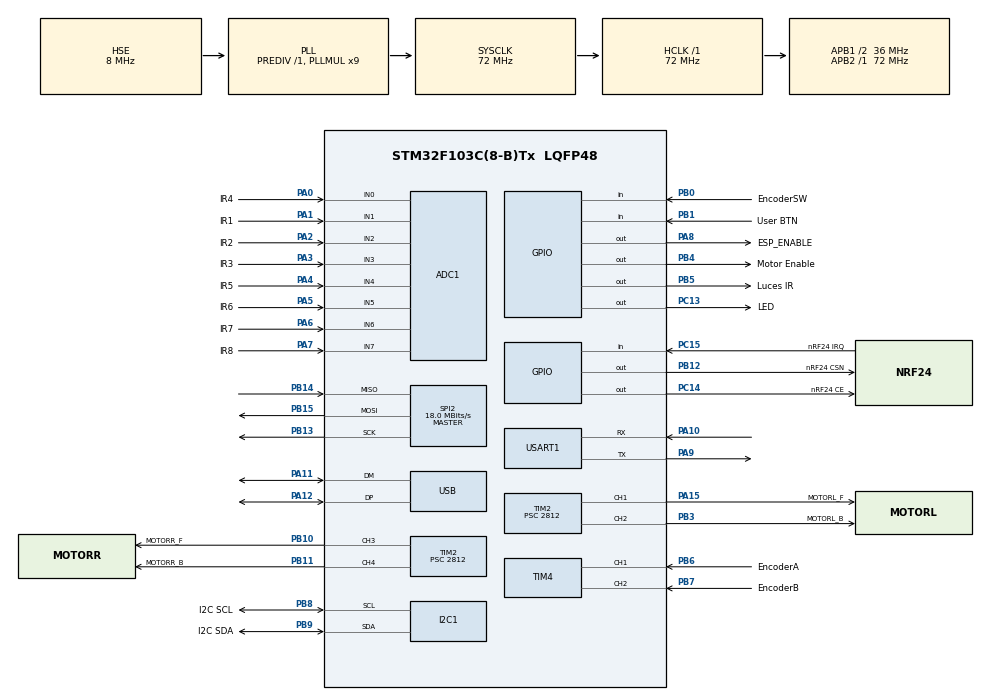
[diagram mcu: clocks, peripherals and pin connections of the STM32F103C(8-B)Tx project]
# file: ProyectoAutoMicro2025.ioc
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ADC1.Channel-0\#ChannelRegularConversion=ADC_CHANNEL_1
ADC1.Channel-1\#ChannelRegularConversion=ADC_CHANNEL_2
ADC1.Channel-2\#ChannelRegularConversion=ADC_CHANNEL_3
ADC1.Channel-3\#ChannelRegularConversion=ADC_CHANNEL_0
ADC1.Channel-4\#ChannelRegularConversion=ADC_CHANNEL_4
ADC1.Channel-5\#ChannelRegularConversion=ADC_CHANNEL_5
ADC1.Channel-6\#ChannelRegularConversion=ADC_CHANNEL_6
ADC1.Channel-7\#ChannelRegularConversion=ADC_CHANNEL_7
ADC1.ExternalTrigConv=ADC_EXTERNALTRIGCONV_T3_TRGO
ADC1.NbrOfConversion=8
ADC1.NbrOfConversionFlag=1
ADC1.Rank-0\#ChannelRegularConversion=1
ADC1.Rank-1\#ChannelRegularConversion=2
ADC1.Rank-2\#ChannelRegularConversion=3
ADC1.Rank-3\#ChannelRegularConversion=4
ADC1.Rank-4\#ChannelRegularConversion=5
ADC1.Rank-5\#ChannelRegularConversion=6
ADC1.Rank-6\#ChannelRegularConversion=7
ADC1.Rank-7\#ChannelRegularConversion=8
ADC1.SamplingTime-0\#ChannelRegularConversion=ADC_SAMPLETIME_28CYCLES_5
ADC1.SamplingTime-1\#ChannelRegularConversion=ADC_SAMPLETIME_28CYCLES_5
ADC1.SamplingTime-2\#ChannelRegularConversion=ADC_SAMPLETIME_28CYCLES_5
ADC1.SamplingTime-3\#ChannelRegularConversion=ADC_SAMPLETIME_28CYCLES_5
ADC1.SamplingTime-4\#ChannelRegularConversion=ADC_SAMPLETIME_28CYCLES_5
ADC1.SamplingTime-5\#ChannelRegularConversion=ADC_SAMPLETIME_28CYCLES_5
ADC1.SamplingTime-6\#ChannelRegularConversion=ADC_SAMPLETIME_28CYCLES_5
ADC1.SamplingTime-7\#ChannelRegularConversion=ADC_SAMPLETIME_28CYCLES_5
ADC1.master=1
Dma.ADC1.0.Direction=DMA_PERIPH_TO_MEMORY
Dma.ADC1.0.Instance=DMA1_Channel1
Dma.ADC1.0.MemDataAlignment=DMA_MDATAALIGN_HALFWORD
Dma.ADC1.0.MemInc=DMA_MINC_ENABLE
Dma.ADC1.0.Mode=DMA_CIRCULAR
Dma.ADC1.0.PeriphDataAlignment=DMA_PDATAALIGN_HALFWORD
Dma.ADC1.0.PeriphInc=DMA_PINC_DISABLE
Dma.ADC1.0.Priority=DMA_PRIORITY_HIGH
Dma.I2C1_RX.3.Direction=DMA_PERIPH_TO_MEMORY
Dma.I2C1_RX.3.Instance=DMA1_Channel7
Dma.I2C1_RX.3.MemDataAlignment=DMA_MDATAALIGN_BYTE
Dma.I2C1_RX.3.MemInc=DMA_MINC_ENABLE
Dma.I2C1_RX.3.Mode=DMA_NORMAL
Dma.I2C1_RX.3.PeriphDataAlignment=DMA_PDATAALIGN_BYTE
Dma.I2C1_RX.3.PeriphInc=DMA_PINC_DISABLE
Dma.I2C1_RX.3.Priority=DMA_PRIORITY_LOW
Dma.I2C1_TX.4.Direction=DMA_MEMORY_TO_PERIPH
Dma.I2C1_TX.4.Instance=DMA1_Channel6
Dma.I2C1_TX.4.MemDataAlignment=DMA_MDATAALIGN_BYTE
Dma.I2C1_TX.4.MemInc=DMA_MINC_ENABLE
Dma.I2C1_TX.4.Mode=DMA_NORMAL
Dma.I2C1_TX.4.PeriphDataAlignment=DMA_PDATAALIGN_BYTE
Dma.I2C1_TX.4.PeriphInc=DMA_PINC_DISABLE
Dma.I2C1_TX.4.Priority=DMA_PRIORITY_LOW
Dma.Request0=ADC1
Dma.Request1=USART1_TX
Dma.Request2=USART1_RX
Dma.Request3=I2C1_RX
Dma.Request4=I2C1_TX
Dma.USART1_RX.2.Direction=DMA_PERIPH_TO_MEMORY
Dma.USART1_RX.2.Instance=DMA1_Channel5
Dma.USART1_RX.2.MemDataAlignment=DMA_MDATAALIGN_BYTE
Dma.USART1_RX.2.MemInc=DMA_MINC_ENABLE
Dma.USART1_RX.2.Mode=DMA_CIRCULAR
Dma.USART1_RX.2.PeriphDataAlignment=DMA_PDATAALIGN_BYTE
Dma.USART1_RX.2.PeriphInc=DMA_PINC_DISABLE
Dma.USART1_RX.2.Priority=DMA_PRIORITY_LOW
Dma.USART1_TX.1.Direction=DMA_MEMORY_TO_PERIPH
Dma.USART1_TX.1.Instance=DMA1_Channel4
Dma.USART1_TX.1.MemDataAlignment=DMA_MDATAALIGN_BYTE
Dma.USART1_TX.1.MemInc=DMA_MINC_ENABLE
Dma.USART1_TX.1.Mode=DMA_NORMAL
Dma.USART1_TX.1.PeriphDataAlignment=DMA_PDATAALIGN_BYTE
Dma.USART1_TX.1.PeriphInc=DMA_PINC_DISABLE
Dma.USART1_TX.1.Priority=DMA_PRIORITY_LOW
I2C1.I2C_Mode=I2C_Fast
Mcu.Family=STM32F1
Mcu.Name=STM32F103C(8-B)Tx
Mcu.Package=LQFP48
NVIC.ADC1_2_IRQn=true\:0\:0\:false\:false\:true\:true\:true\:true
NVIC.DMA1_Channel1_IRQn=true\:0\:0\:false\:false\:true\:false\:true\:true
NVIC.DMA1_Channel4_IRQn=true\:0\:0\:false\:false\:true\:false\:true\:true
NVIC.DMA1_Channel5_IRQn=true\:0\:0\:false\:false\:true\:false\:true\:true
NVIC.DMA1_Channel6_IRQn=true\:0\:0\:false\:false\:true\:false\:true\:true
NVIC.DMA1_Channel7_IRQn=true\:0\:0\:false\:false\:true\:false\:true\:true
NVIC.I2C1_ER_IRQn=true\:0\:0\:false\:false\:true\:true\:true\:true
NVIC.I2C1_EV_IRQn=true\:0\:0\:false\:false\:true\:true\:true\:true
NVIC.PriorityGroup=NVIC_PRIORITYGROUP_4
NVIC.TIM3_IRQn=true\:0\:0\:true\:false\:true\:true\:true\:true
NVIC.USART1_IRQn=true\:0\:0\:false\:false\:true\:true\:true\:true
PA0-WKUP.GPIO_Label=IR4
PA0-WKUP.Signal=ADCx_IN0
PA1.GPIO_Label=IR1
PA1.Signal=ADCx_IN1
PA10.Mode=Asynchronous
PA10.Signal=USART1_RX
PA11.Mode=Device
PA11.Signal=USB_DM
PA12.Mode=Device
PA12.Signal=USB_DP
PA13.Mode=Serial_Wire
PA13.Signal=SYS_JTMS-SWDIO
PA14.Mode=Serial_Wire
PA14.Signal=SYS_JTCK-SWCLK
PA15.GPIO_Label=MOTORL_F
PA15.Signal=S_TIM2_CH1_ETR
PA2.GPIO_Label=IR2
PA2.Signal=ADCx_IN2
PA3.GPIO_Label=IR3
PA3.Signal=ADCx_IN3
PA4.GPIO_Label=IR5
PA4.Signal=ADCx_IN4
PA5.GPIO_Label=IR6
PA5.Signal=ADCx_IN5
PA6.GPIO_Label=IR7
PA6.Signal=ADCx_IN6
PA7.GPIO_Label=IR8
PA7.Signal=ADCx_IN7
PA8.GPIO_Label=ESP_ENABLE
PA8.Signal=GPIO_Output
PA9.Mode=Asynchronous
PA9.Signal=USART1_TX
PB0.GPIO_Label=EncoderSW
PB0.GPIO_PuPd=GPIO_PULLUP
PB0.Signal=GPIO_Input
PB1.GPIO_Label=User BTN
PB1.Signal=GPIO_Input
PB10.GPIO_Label=MOTORR_F
PB10.Signal=S_TIM2_CH3
PB11.GPIO_Label=MOTORR_B
PB11.Signal=S_TIM2_CH4
PB12.GPIO_Label=nRF24 CSN
PB12.Signal=GPIO_Output
PB13.Mode=Full_Duplex_Master
PB13.Signal=SPI2_SCK
PB14.Mode=Full_Duplex_Master
PB14.Signal=SPI2_MISO
PB15.Mode=Full_Duplex_Master
PB15.Signal=SPI2_MOSI
PB3.GPIO_Label=MOTORL_B
PB3.Signal=S_TIM2_CH2
PB4.GPIO_Label=Motor Enable
PB4.Signal=GPIO_Output
PB5.GPIO_Label=Luces IR
PB5.Signal=GPIO_Output
PB6.GPIO_Label=EncoderA
PB6.Signal=S_TIM4_CH1
PB7.GPIO_Label=EncoderB
PB7.Signal=S_TIM4_CH2
PB8.GPIO_Label=I2C SCL
PB8.Mode=I2C
PB8.Signal=I2C1_SCL
PB9.GPIO_Label=I2C SDA
PB9.Mode=I2C
PB9.Signal=I2C1_SDA
PC13-TAMPER-RTC.GPIO_Label=LED
PC13-TAMPER-RTC.Signal=GPIO_Output
PC14-OSC32_IN.GPIO_Label=nRF24 CE
PC14-OSC32_IN.Signal=GPIO_Output
PC15-OSC32_OUT.GPIO_Label=nRF24 IRQ
PC15-OSC32_OUT.Signal=GPIO_Input
PD0-OSC_IN.Mode=HSE-External-Oscillator
PD0-OSC_IN.Signal=RCC_OSC_IN
PD1-OSC_OUT.Mode=HSE-External-Oscillator
PD1-OSC_OUT.Signal=RCC_OSC_OUT
ProjectManager.HeapSize=0x200
ProjectManager.StackSize=0x400
ProjectManager.TargetToolchain=STM32CubeIDE
RCC.ADCPresc=RCC_ADCPCLK2_DIV6
RCC.AHBFreq_Value=72000000
RCC.APB1CLKDivider=RCC_HCLK_DIV2
RCC.APB1Freq_Value=36000000
RCC.APB1TimFreq_Value=72000000
RCC.APB2Freq_Value=72000000
RCC.APB2TimFreq_Value=72000000
RCC.HCLKFreq_Value=72000000
RCC.PLLMUL=RCC_PLL_MUL9
RCC.PLLSourceVirtual=RCC_PLLSOURCE_HSE
RCC.SYSCLKFreq_VALUE=72000000
RCC.SYSCLKSource=RCC_SYSCLKSOURCE_PLLCLK
RCC.USBFreq_Value=48000000
RCC.USBPrescaler=RCC_USBCLKSOURCE_PLL_DIV1_5
SH.ADCx_IN0.0=ADC1_IN0,IN0
SH.ADCx_IN1.0=ADC1_IN1,IN1
SH.ADCx_IN2.0=ADC1_IN2,IN2
SH.ADCx_IN3.0=ADC1_IN3,IN3
SH.ADCx_IN4.0=ADC1_IN4,IN4
SH.ADCx_IN5.0=ADC1_IN5,IN5
SH.ADCx_IN6.0=ADC1_IN6,IN6
SH.ADCx_IN7.0=ADC1_IN7,IN7
SH.S_TIM2_CH1_ETR.0=TIM2_CH1,PWM Generation1 CH1
SH.S_TIM2_CH2.0=TIM2_CH2,PWM Generation2 CH2
SH.S_TIM2_CH3.0=TIM2_CH3,PWM Generation3 CH3
SH.S_TIM2_CH4.0=TIM2_CH4,PWM Generation4 CH4
SH.S_TIM4_CH1.0=TIM4_CH1,Encoder_Interface
SH.S_TIM4_CH2.0=TIM4_CH2,Encoder_Interface
SPI2.CalculateBaudRate=18.0 MBits/s
SPI2.Direction=SPI_DIRECTION_2LINES
SPI2.Mode=SPI_MODE_MASTER
SPI2.VirtualType=VM_MASTER
TIM2.Channel-PWM\ Generation1\ CH1=TIM_CHANNEL_1
TIM2.Channel-PWM\ Generation2\ CH2=TIM_CHANNEL_2
TIM2.Channel-PWM\ Generation3\ CH3=TIM_CHANNEL_3
TIM2.Channel-PWM\ Generation4\ CH4=TIM_CHANNEL_4
TIM2.Period=255
TIM2.Prescaler=2812
TIM3.Period=249
TIM3.Prescaler=71
TIM3.TIM_MasterOutputTrigger=TIM_TRGO_UPDATE
TIM4.EncoderMode=TIM_ENCODERMODE_TI12
TIM4.IC1Filter=0
TIM4.IC2Filter=9
USART1.VirtualMode=VM_ASYNC
VP_TIM2_VS_ClockSourceINT.Mode=Internal
VP_TIM3_VS_ClockSourceINT.Mode=Internal
board=custom

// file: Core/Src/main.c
/* USER CODE BEGIN Header */
/**
 ******************************************************************************
 * @file           : main.c
 * @brief          : Main program body
 ******************************************************************************
 * @attention
 *
 * Copyright (c) 2025 STMicroelectronics.
 * All rights reserved.
 *
 * This software is licensed under terms that can be found in the LICENSE file
 * in the root directory of this software component.
 * If no LICENSE file comes with this software, it is provided AS-IS.
 *
 ******************************************************************************
 */
/* USER CODE END Header */
#include "main.h"
#include "adc.h"
#include "dma.h"
#include "i2c.h"
#include "spi.h"
#include "tim.h"
#include "usart.h"
#include "usb.h"
#include "gpio.h"

/* USER CODE BEGIN Includes */
#include "globals.h"
#include "utils.h"
#include "utils/macros_utils.h"
#include "types/bitmap_type.h"
#include "motor_control.h"
#include "i2c_manager.h"
#include "fonts.h"
#include "menusystem.h"
#include "oled_utils.h"
#include "encoder.h"             // donde se define ENC_Handle_t
#include "user_button.h"
#include "ui_event_router.h"
#include "ssd1306.h"
#include "mpu6050.h"             // donde se define MPU6050_Handle_t
#include "screenWrappers.h"
#include "notificationWrappers.h"
#include "eventManagers.h"
#include "menu_definitions.h"
#include "wifi_bridge.h"
#include "wifi_bridge_ui_adapter.h"
#include "permissions.h"
//#include "oled_screens.h"

/* USER CODE END Includes */

/* USER CODE BEGIN PV */

typedef struct {
    GPIO_TypeDef *port;
    uint16_t pin;
} TCRT_MainLightHalCtx_t;

#define TCRT_MAIN_PULL_DOWN_MASK ((1U << 3) | (1U << 4) | (1U << 5) | (1U << 6) | (1U << 7))

static TCRT_MainLightHalCtx_t tcrtLightHal = {0};

static void TCRT_MainLightWrite(void *ctx, bool state)
{
    TCRT_MainLightHalCtx_t *hal_ctx = (TCRT_MainLightHalCtx_t *)ctx;

    if ((hal_ctx == NULL) || (hal_ctx->port == NULL)) {
        return;
    }

    HAL_GPIO_WritePin(
        hal_ctx->port,
        hal_ctx->pin,
        state ? GPIO_PIN_SET : GPIO_PIN_RESET
    );
}

static bool Oled_WaitReady(I2C_ManagerHandle *manager, uint16_t addr_7bit, uint32_t retries, uint32_t delay_ms)
{
    if (!manager) {
        return false;
    }

    for (uint32_t attempt = 0; attempt < retries; attempt++) {
        if (I2C_Manager_IsAddressReady(manager, addr_7bit) == HAL_OK) {
            __NOP(); // BREAKPOINT: OLED respondiÃƒÂ³ en I2C
            return true;
        }
        HAL_Delay(delay_ms);
    }

    return false;
}

void OledUtils_Clear_Wrapper(){
	OledUtils_Clear();
}

void OLED_Is_Ready(void) {
    if (!IS_FLAG_SET(systemFlags, OLED_READY)) {
        menuSystem.renderFn = OledUtils_RenderStartupNotification_Wrapper;
        menuSystem.renderFlag = true;
        oled_first_draw = true;
        SET_FLAG(systemFlags, OLED_READY);
        __NOP();
    }
}

/* --- Variables globales --- */

/* USER CODE END PV */

void SystemClock_Config(void);
/* USER CODE BEGIN PFP */
void initCarMode();
void UserBtn_MainTask(UserButton_Handle_t *h);
void initTCRTLib();
void TCRT_MainTask();
void InitMotorTask(void);
void My_TimerCalcFunc(uint32_t target_freq_hz,
                      uint32_t timer_clk_hz,
                      uint16_t *prescaler_out,
                      uint16_t *period_out);
void Motor_MainTask(void);
void i2cManager_MainTask(void);
void MPU_MainTask(void);
void OLED_MainTask(void);
/**
 * @brief Tarea principal del encoder (main loop)
 *        Maneja eventos de botÃƒÂ³n corto/largo
 */
void Encoder_MainTask(ENC_Handle_t *h);
void initMenuSystemTask(void);
void clearScreenWrapper(void);
void renderFnWrapper(void);
void drawItemWrapper(const char *name, int y, bool selected);

/* USER CODE END PFP */

/* USER CODE BEGIN 0 */
void MPU_Data_Ready(void) {
    SET_FLAG(systemFlags, MPU_GET_DATA); //Setea bandera de data para volver a pedir
}

/* USER CODE END 0 */

int main(void)
{

  /* MCU Configuration--------------------------------------------------------*/

  /* Reset of all peripherals, Initializes the Flash interface and the Systick. */
  HAL_Init();

  /* Configure the system clock */
  SystemClock_Config();

  /* Initialize all configured peripherals */
  MX_GPIO_Init();
  MX_DMA_Init();
  MX_TIM3_Init();
  MX_ADC1_Init();
  MX_USART1_UART_Init();
  MX_I2C1_Init();
  MX_TIM2_Init();
  MX_SPI2_Init();
  MX_TIM4_Init();
  MX_USB_PCD_Init();
  /* USER CODE BEGIN 2 */
	 HAL_StatusTypeDef result;
	 WifiBridge_Init(&wifiBridge, &huart1);
	 WifiBridge_SetEventCallback(&wifiBridge, WifiBridge_UI_OnEvent);
	 WifiBridge_Start(&wifiBridge);
	 Permission_Init();
	 initTCRTLib();
	 InitMotorTask();
	 I2C_Manager_Init(&i2cManager, &hi2c1, I2C_MANAGER_DEFAULT_LEASE_TIMEOUT_MS);
	 __NOP(); // BREAKPOINT: I2C Manager inicializado
	 /*I2C_Manager_ScanBus();*/
	 if (I2C_Manager_IsAddressReady(&i2cManager, I2C_ADDR_MPU) == HAL_OK) {
	     if (MPU6050_Init(
	             &mpuTask,
	             I2C_ADDR_MPU,
	             &hi2c1,
	             MPU_Data_Ready,                  // callback usuario
	             &mpu_trigger
	         ) == HAL_OK) {
	         HAL_StatusTypeDef res = MPU6050_BindI2CManager(
	             &mpuTask,
	             &i2cManager,
	             DEVICE_ID_MPU,
	             1
	         );
	         if (res == HAL_OK) {
	             MPU6050_Configure(&mpuTask);
	             MPU6050_StartCalibration(&mpuTask, 400u, 1600u);
	             SET_FLAG(systemFlags, MPU_GET_DATA);
	         } else {
	             // FallÃƒÂ³ al registrar (posiblemente sin espacio en la tabla)
	         }
	     }
	 } else {
	     // El MPU no respondiÃƒÂ³ en el bus
	 }
	 if (I2C_Manager_IsAddressReady(&i2cManager, I2C_ADDR_OLED) == HAL_OK) {
	     __NOP(); // BREAKPOINT: I2C detectÃƒÂ³ el OLED
	     result = ssd1306_BindI2CManager(&i2cManager, DEVICE_ID_OLED);

	     if (result == HAL_OK) {
	         __NOP(); // BREAKPOINT: OLED registrado en I2C Manager
	         if (ssd1306_Init()) {
	        	 SET_FLAG(systemFlags2, OLED_ACTIVE);
	         }
	     } else {
	         // FallÃƒÂ³ al registrar
	     }
	 } else {
	     // El OLED no respondiÃƒÂ³
	 }
	 HAL_ADC_Start_DMA(&hadc1, (uint32_t*)sensor_raw_data, TCRT5000_NUM_SENSORS);
	 HAL_TIM_Base_Start_IT(&htim3);
	 initCarMode();
	 initMenuSystemTask();
	 //Aca debemos poner la inicializacion de la ESP
	 //SET_FLAG(systemFlags2, ESP_PRESENT);
	 espBootRebootPending = 1;
		if (espBootRebootPending && !usart1_tx_busy) {
			if (WifiBridge_SendEspReboot(&wifiBridge, WIFI_BRIDGE_ESP_REBOOT_BOOT_MODE_NORMAL) == WIFI_BRIDGE_OK) {
				espBootRebootPending = 0u;
				espBootRebootPendingResponse = 1;
			}
		}
		if(IS_FLAG_SET(systemFlags2, OLED_ACTIVE)){
			CLEAR_FLAG(systemFlags2, OLED_ACTIVE);
			OLED_Is_Ready();
		}

  //Solo llamo initCarMode() una vez, antes del while
  /* USER CODE END 2 */

  /* Infinite loop */
  /* USER CODE BEGIN WHILE */
	while (1) {
		USART1_DMA_CheckHealth();
		WifiBridge_Process(&wifiBridge);
		Permission_Task(HAL_GetTick());
		TCRT_MainTask();
		i2cManager_MainTask();
		UserBtn_MainTask(&btnUser);
		Encoder_MainTask(&encoder);
		OLED_MainTask();
		MPU_MainTask();
		Motor_MainTask();
		// Si quieres saber cuÃƒÂ¡ntos sobrepasos de 1 s hubo (0..9):
		//uint8_t num_overflows = NIBBLEH_GET_STATE(btnUser.state.flags);

    /* USER CODE END WHILE */

	}
}

void SystemClock_Config(void)
{
  RCC_OscInitTypeDef RCC_OscInitStruct = {0};
  RCC_ClkInitTypeDef RCC_ClkInitStruct = {0};
  RCC_PeriphCLKInitTypeDef PeriphClkInit = {0};

  /** Initializes the RCC Oscillators according to the specified parameters
  * in the RCC_OscInitTypeDef structure.
  */
  RCC_OscInitStruct.OscillatorType = RCC_OSCILLATORTYPE_HSE;
  RCC_OscInitStruct.HSEState = RCC_HSE_ON;
  RCC_OscInitStruct.HSEPredivValue = RCC_HSE_PREDIV_DIV1;
  RCC_OscInitStruct.HSIState = RCC_HSI_ON;
  RCC_OscInitStruct.PLL.PLLState = RCC_PLL_ON;
  RCC_OscInitStruct.PLL.PLLSource = RCC_PLLSOURCE_HSE;
  RCC_OscInitStruct.PLL.PLLMUL = RCC_PLL_MUL9;
  if (HAL_RCC_OscConfig(&RCC_OscInitStruct) != HAL_OK)
  {
    Error_Handler();
  }

  /** Initializes the CPU, AHB and APB buses clocks
  */
  RCC_ClkInitStruct.ClockType = RCC_CLOCKTYPE_HCLK|RCC_CLOCKTYPE_SYSCLK
                              |RCC_CLOCKTYPE_PCLK1|RCC_CLOCKTYPE_PCLK2;
  RCC_ClkInitStruct.SYSCLKSource = RCC_SYSCLKSOURCE_PLLCLK;
  RCC_ClkInitStruct.AHBCLKDivider = RCC_SYSCLK_DIV1;
  RCC_ClkInitStruct.APB1CLKDivider = RCC_HCLK_DIV2;
  RCC_ClkInitStruct.APB2CLKDivider = RCC_HCLK_DIV1;

  if (HAL_RCC_ClockConfig(&RCC_ClkInitStruct, FLASH_LATENCY_2) != HAL_OK)
  {
    Error_Handler();
  }
  PeriphClkInit.PeriphClockSelection = RCC_PERIPHCLK_ADC|RCC_PERIPHCLK_USB;
  PeriphClkInit.AdcClockSelection = RCC_ADCPCLK2_DIV6;
  PeriphClkInit.UsbClockSelection = RCC_USBCLKSOURCE_PLL_DIV1_5;
  if (HAL_RCCEx_PeriphCLKConfig(&PeriphClkInit) != HAL_OK)
  {
    Error_Handler();
  }
}

/* USER CODE BEGIN 4 */

HAL_StatusTypeDef uart1_send_bytes(const uint8_t *data, uint16_t len) {
    if (!data || len == 0) {
        return HAL_ERROR;
    }

    if (usart1_tx_busy) {
        return HAL_BUSY;
    }

    usart1_tx_busy = 1;
    if (HAL_UART_Transmit_DMA(&huart1, (uint8_t *)data, len) != HAL_OK) {
        usart1_tx_busy = 0;
        return HAL_ERROR;
    }

    return HAL_OK;
}

void initCarMode(){
	SET_CAR_MODE(IDLE_MODE);
	ledStatus.gpio_port = LED_GPIO_Port;
	ledStatus.gpio_pin = LED_Pin;
	ledStatus.flags.byte = 0;
	ledStatus.counter = 0;
	ledStatus.onTime = LED_IDLE_ONTIME;
	ledStatus.offTime = LED_IDLE_OFFTIME;
	SET_FLAG(ledStatus.flags, LED_FLAG_ACTIVE_LOW);  // Si el LED es activo en bajo
	SET_FLAG(systemFlags, INIT_CAR);
	UserButton_Init(&btnUser, User_BTN_GPIO_Port, User_BTN_Pin, USER_BUTTON_ACTIVE_HIGH);
	ENC_Init(&encoder, &htim4, 1, 4, EncoderSW_GPIO_Port, EncoderSW_Pin);
	ENC_Start(&encoder);
	// SET_FLAG(systemFlags2, AP_ACTIVE);
	// SET_FLAG(systemFlags2, USB_ACTIVE);
	// SET_FLAG(systemFlags2, RF_ACTIVE);
}

void UserBtn_MainTask(UserButton_Handle_t *btnUser) {
    UserEvent_t local_ev = UE_NONE;

    if (IS_FLAG_SET(btnUser->state.flags, BTN_USER_SHORT_PRESS)) {
        CLEAR_FLAG(btnUser->state.flags, BTN_USER_SHORT_PRESS);
        local_ev = UE_SHORT_PRESS;
    }
    else if (IS_FLAG_SET(btnUser->state.flags, BTN_USER_LONG_PRESS)) {
        CLEAR_FLAG(btnUser->state.flags, BTN_USER_LONG_PRESS);
        local_ev = UE_LONG_PRESS;
    }

    UiEventRouter_HandleEvent(local_ev);
}

void Encoder_MainTask(ENC_Handle_t *encoder) {
    UserEvent_t local_ev = UE_NONE;
    int16_t scaled_steps = 0;

    // rotaciÃƒÂ³n
    if (IS_FLAG_SET(encoder->flags, ENC_FLAG_UPDATED)) {
        CLEAR_FLAG(encoder->flags, ENC_FLAG_UPDATED);
        local_ev = (encoder->dir == ENC_DIR_CW ? UE_ROTATE_CW : UE_ROTATE_CCW);
        scaled_steps = ENC_GetScaledSteps(encoder);
    }
    // click encoder
    else if (IS_FLAG_SET(encoder->btnState.flags, ENC_BTN_SHORT_PRESS)) {
        CLEAR_FLAG(encoder->btnState.flags, ENC_BTN_SHORT_PRESS);
        local_ev = UE_ENC_SHORT_PRESS;
    }
    else if (IS_FLAG_SET(encoder->btnState.flags, ENC_BTN_LONG_PRESS)) {
        CLEAR_FLAG(encoder->btnState.flags, ENC_BTN_LONG_PRESS);
        local_ev = UE_ENC_LONG_PRESS;
    }

    if (local_ev != UE_NONE && encoder->allowEncoderInput) {
        if (local_ev == UE_ROTATE_CW || local_ev == UE_ROTATE_CCW) {
            int16_t repeats = 1;

            if (!inside_menu_flag && encoder_fast_scroll_enabled) {
                repeats = scaled_steps;
                if (repeats < 0) {
                    repeats = (int16_t)(-repeats);
                }
                if (repeats < 1) {
                    repeats = 1;
                }
            }

            for (int16_t i = 0; i < repeats; i++) {
                UiEventRouter_HandleEvent(local_ev);
            }
        } else {
            UiEventRouter_HandleEvent(local_ev);
        }
    }
}

void initTCRTLib(void)
{
    TCRT5000_Config_t tcrt_cfg;

    tcrtLightHal.port = Luces_IR_GPIO_Port;
    tcrtLightHal.pin = Luces_IR_Pin;

    tcrt_cfg.pull_down_mask = TCRT_MAIN_PULL_DOWN_MASK;
    tcrt_cfg.lateral_alpha = TCRT5000_DEFAULT_LATERAL_ALPHA;
    tcrt_cfg.auto_mode_advance = false;
    tcrt_cfg.light_initial_state = true;
    tcrt_cfg.ready_batch_size = TCRT5000_DEFAULT_READY_BATCH_SIZE;
    tcrt_cfg.default_threshold_line = TCRT5000_DEFAULT_THRESHOLD_LINE;
    tcrt_cfg.default_threshold_obstacle = TCRT5000_DEFAULT_THRESHOLD_OBS;
    tcrt_cfg.light_write = TCRT_MainLightWrite;
    tcrt_cfg.light_ctx = &tcrtLightHal;

    if (TCRT5000_Init(&tcrtTask, &tcrt_cfg) != TCRT5000_OK) {
        return;
    }

    (void)TCRT5000_StartCalibration(&tcrtTask, 50, 50);
}

void TCRT_MainTask()
{
    if (procesar_flag) {
        procesar_flag = false;
        if (TCRT5000_ProcessSample(&tcrtTask, sensor_raw_data)) {
            SET_FLAG(systemFlags, PROCESS_IR_DATA);
        }
    }

    if (IS_FLAG_SET(systemFlags, PROCESS_IR_DATA)) {
        // Procesar aca la data de los IR
        CLEAR_FLAG(systemFlags, PROCESS_IR_DATA);
    }
}

void My_TimerCalcFunc(uint32_t target_freq_hz,
                      uint32_t timer_clk_hz,
                      uint16_t *prescaler_out,
                      uint16_t *period_out)
{
    if (target_freq_hz == 0 || timer_clk_hz == 0 || !prescaler_out || !period_out) {
        *prescaler_out = 0;
        *period_out = 0;
        return;
    }

    const uint32_t period = 255;
    uint32_t prescaler = timer_clk_hz / (target_freq_hz * (period + 1));
    if (prescaler == 0) prescaler = 1;

    *prescaler_out = (uint16_t)(prescaler - 1);
    *period_out    = (uint16_t)period;
}

/**
 * @brief  Initialize and configure motorTask handle
 */
void InitMotorTask(void)
{
    // Asignar timer y PWM default al handle
    motorTask.htim             = &htim2;
    motorTask.desired_pwm_freq = 3900;   // ~3.9 kHz
    motorTask.compute_params   = NULL;   // NULL usa valores fijos

    motorTask.left_forward_channel  = TIM_CHANNEL_1;
    motorTask.left_backward_channel = TIM_CHANNEL_2;
    motorTask.right_forward_channel = TIM_CHANNEL_3;
    motorTask.right_backward_channel= TIM_CHANNEL_4;

    // Inicializar PWM
    if (Motor_Init(&motorTask) != HAL_OK)
    {

        Error_Handler();
    }
    else
    {

    }
}

void Motor_MainTask(void)
{
    // 1) Habilitar/deshabilitar driver
    bool enabled = IS_FLAG_SET(motorTask.motorData.flags, ENABLE_MOVEMENT);
    HAL_GPIO_WritePin(Motor_Enable_GPIO_Port, Motor_Enable_Pin,
        enabled ? GPIO_PIN_SET : GPIO_PIN_RESET);

    // Si estÃƒÂ¡ deshabilitado, frenamos ambos y salimos
    if (!enabled) {
        Motor_StopBoth(&motorTask);
        return;
    }

    // 2) Leemos selecciÃƒÂ³n y config del motor desde motorData
    uint8_t sel = NIBBLEH_GET_STATE(motorTask.motorData.flags);
    Motor_Config_t *cfg = NULL;
    switch (sel) {
        case MOTORLEFT_SELECTED:  cfg = &motorTask.motorData.motorLeft;  break;
        case MOTORRIGHT_SELECTED: cfg = &motorTask.motorData.motorRight; break;
        case MOTORNONE_SELECTED:  // ambos
        default:                  cfg = NULL;                           break;
    }

    // 3) Ejecutar segÃƒÂºn selecciÃƒÂ³n
    if (sel == MOTORNONE_SELECTED) {
        // Ambos: usan la misma velocidad/direcciÃƒÂ³n guardada en cada config
        Motor_SetBoth(&motorTask,
                      motorTask.motorData.motorLeft.motorSpeed,
                      motorTask.motorData.motorLeft.motorDirection);
    }
    else if (cfg) {
        // Solo uno: lo arrancamos y detenemos el otro
        if (cfg->motorDirection == MOTOR_DIR_FORWARD) {
            if (sel == MOTORLEFT_SELECTED)
                Motor_SetLeftForward(&motorTask, cfg->motorSpeed);
            else
                Motor_SetRightForward(&motorTask, cfg->motorSpeed);
        } else {
            if (sel == MOTORLEFT_SELECTED)
                Motor_SetLeftBackward(&motorTask, cfg->motorSpeed);
            else
                Motor_SetRightBackward(&motorTask, cfg->motorSpeed);
        }
        // Frenar el opuesto
        if (sel == MOTORLEFT_SELECTED)       Motor_StopRight(&motorTask);
        else /* derecho */                   Motor_StopLeft(&motorTask);
    }
    else {
        // SelecciÃƒÂ³n invÃƒÂ¡lida: frenar todo
        Motor_StopBoth(&motorTask);
    }
}

void MPU_MainTask(void) {
    MPU6050_Process(&mpuTask);
}

void i2cManager_MainTask(){
	I2C_Manager_Tick(&i2cManager);
}

void OLED_MainTask(void) {
    // 0) Esperamos a que el SSD estÃƒÂ© listo
    if (!IS_FLAG_SET(systemFlags, OLED_READY)) {
    	__NOP();
        return;
    }

    // 2) Refresco periÃƒÂ³dico si estÃƒÂ¡ permitido
    if (IS_FLAG_SET(systemFlags, OLED_REFRESH) && menuSystem.allowPeriodicRefresh) {
    	__NOP();
        if (menuSystem.renderFn) {
            menuSystem.renderFlag = true;
        }
        CLEAR_FLAG(systemFlags, OLED_REFRESH);
    }

    // 3) Ejecutar la rutina de render si alguien la pidiÃƒÂ³
    bool did_render = false;
    if (menuSystem.renderFlag && menuSystem.renderFn) {
        if (ssd1306_UpdateScreenCompleted()) {
            menuSystem.renderFlag = false;
            __NOP(); // BREAKPOINT: render de OLED solicitado
            menuSystem.renderFn();
            did_render = true;
        }
    }

    // 4) Enviar el buffer al display (no bloqueante con DMA/I2C manager)
        if (did_render) {
        __NOP(); // BREAKPOINT: inicio de ssd1306_UpdateScreen
        ssd1306_UpdateScreen();
        onRenderComplete();
    }
}

void initMenuSystemTask(void) {
    RenderFunction initialRender = menuSystem.renderFn ? menuSystem.renderFn
                                                      : OledUtils_RenderDashboard_Wrapper;
    MenuSys_Init(&menuSystem);
    MenuSys_SetCallbacks(&menuSystem,
        OledUtils_Clear_Wrapper,
        OledUtils_DrawItem_Wrapper,
        initialRender,
        &inside_menu_flag,
		OledUtils_RenderDashboard_Wrapper);
    menuSystem.renderFlag = true;
}

/* USER CODE END 4 */

void Error_Handler(void)
{
	__disable_irq();
	while (1) {
	}
}
